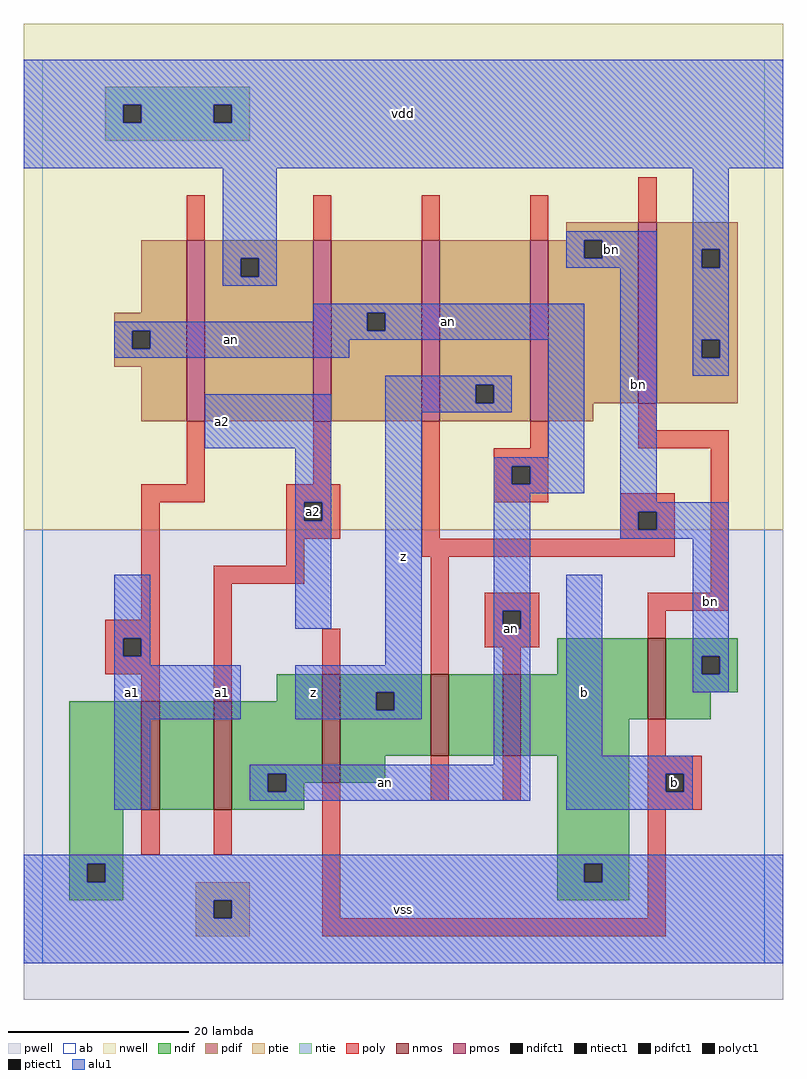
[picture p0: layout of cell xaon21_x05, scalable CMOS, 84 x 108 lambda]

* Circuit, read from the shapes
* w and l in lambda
.subckt xaon21_x05 a1 a2 an b bn vdd vss z
M1 n1 a1 vss vss nfet w=12 l=2
M2 an a2 n1 vss nfet w=12 l=2
M3 z b an vss nfet w=12 l=2
M4 n2 bn z vss nfet w=9 l=2
M5 vss an n2 vss nfet w=9 l=2
M6 bn b vss vss nfet w=9 l=2
M7 vdd a1 an vdd pfet w=20 l=2
M8 an a2 vdd vdd pfet w=20 l=2
M9 z bn an vdd pfet w=20 l=2
M10 bn an z vdd pfet w=20 l=2
M11 vdd b bn vdd pfet w=20 l=2
.ends

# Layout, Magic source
magic
tech scmos
<< ab >>
rect 0 0 80 100
<< nwell >>
rect -2 48 82 104
<< pwell >>
rect -2 -4 82 48
<< poly >>
rect 16 80 18 85
rect 30 80 32 85
rect 42 80 44 85
rect 54 80 56 85
rect 66 82 68 87
rect 16 53 18 60
rect 30 53 32 60
rect 11 51 18 53
rect 27 51 33 53
rect 11 38 13 51
rect 27 49 29 51
rect 31 49 33 51
rect 27 47 33 49
rect 42 47 44 60
rect 54 57 56 60
rect 66 59 68 62
rect 66 57 76 59
rect 50 55 56 57
rect 50 53 52 55
rect 54 53 56 55
rect 50 51 56 53
rect 64 50 70 52
rect 64 48 66 50
rect 68 48 70 50
rect 64 47 70 48
rect 27 44 29 47
rect 42 45 70 47
rect 7 36 13 38
rect 7 34 9 36
rect 11 34 13 36
rect 7 32 13 34
rect 11 29 13 32
rect 19 42 29 44
rect 19 29 21 42
rect 31 32 33 37
rect 43 32 45 45
rect 74 41 76 57
rect 49 39 55 41
rect 49 37 51 39
rect 53 37 55 39
rect 49 35 55 37
rect 67 39 76 41
rect 67 36 69 39
rect 51 32 53 35
rect 11 12 13 17
rect 19 12 21 17
rect 31 5 33 20
rect 43 18 45 23
rect 51 18 53 23
rect 67 23 69 27
rect 67 21 73 23
rect 67 19 69 21
rect 71 19 73 21
rect 67 17 73 19
rect 67 5 69 17
rect 31 3 69 5
<< ndif >>
rect 57 32 67 36
rect 26 29 31 32
rect 3 17 11 29
rect 13 17 19 29
rect 21 21 31 29
rect 21 19 25 21
rect 27 20 31 21
rect 33 30 43 32
rect 33 28 37 30
rect 39 28 43 30
rect 33 23 43 28
rect 45 23 51 32
rect 53 27 67 32
rect 69 34 77 36
rect 69 32 73 34
rect 75 32 77 34
rect 69 30 77 32
rect 69 27 74 30
rect 53 23 65 27
rect 33 20 38 23
rect 27 19 29 20
rect 21 17 29 19
rect 3 11 9 17
rect 3 9 5 11
rect 7 9 9 11
rect 3 7 9 9
rect 57 11 65 23
rect 57 9 60 11
rect 62 9 65 11
rect 57 7 65 9
<< pdif >>
rect 58 80 66 82
rect 11 72 16 80
rect 8 70 16 72
rect 8 68 10 70
rect 12 68 16 70
rect 8 66 16 68
rect 11 60 16 66
rect 18 78 30 80
rect 18 76 22 78
rect 24 76 30 78
rect 18 60 30 76
rect 32 72 42 80
rect 32 70 36 72
rect 38 70 42 72
rect 32 60 42 70
rect 44 64 54 80
rect 44 62 48 64
rect 50 62 54 64
rect 44 60 54 62
rect 56 78 60 80
rect 62 78 66 80
rect 56 62 66 78
rect 68 79 77 82
rect 68 77 73 79
rect 75 77 77 79
rect 68 69 77 77
rect 68 67 73 69
rect 75 67 77 69
rect 68 62 77 67
rect 56 60 61 62
<< alu1 >>
rect -2 95 82 100
rect -2 93 9 95
rect 11 93 19 95
rect 21 93 82 95
rect -2 88 82 93
rect 20 78 26 88
rect 20 76 22 78
rect 24 76 26 78
rect 58 80 68 81
rect 58 78 60 80
rect 62 78 68 80
rect 58 77 68 78
rect 20 75 26 76
rect 30 72 60 73
rect 30 71 36 72
rect 8 70 36 71
rect 38 70 60 72
rect 8 68 10 70
rect 12 69 60 70
rect 12 68 34 69
rect 8 67 34 68
rect 38 64 52 65
rect 18 57 32 63
rect 28 51 32 57
rect 28 49 29 51
rect 31 49 32 51
rect 8 36 12 43
rect 28 37 32 49
rect 38 62 48 64
rect 50 62 52 64
rect 38 61 52 62
rect 8 34 9 36
rect 11 34 12 36
rect 8 33 12 34
rect 38 33 42 61
rect 56 56 60 69
rect 8 27 22 33
rect 28 30 42 33
rect 28 28 37 30
rect 39 28 42 30
rect 28 27 42 28
rect 50 55 60 56
rect 50 53 52 55
rect 54 53 60 55
rect 50 52 60 53
rect 50 39 54 52
rect 64 51 68 77
rect 72 79 76 88
rect 72 77 73 79
rect 75 77 76 79
rect 72 69 76 77
rect 72 67 73 69
rect 75 67 76 69
rect 72 65 76 67
rect 64 50 76 51
rect 64 48 66 50
rect 68 48 76 50
rect 64 47 76 48
rect 50 37 51 39
rect 53 37 54 39
rect 8 17 12 27
rect 50 22 54 37
rect 23 21 54 22
rect 23 19 25 21
rect 27 19 54 21
rect 23 18 54 19
rect 58 23 62 43
rect 72 34 76 47
rect 72 32 73 34
rect 75 32 76 34
rect 72 30 76 32
rect 58 21 72 23
rect 58 19 69 21
rect 71 19 72 21
rect 58 17 72 19
rect -2 11 82 12
rect -2 9 5 11
rect 7 9 60 11
rect 62 9 82 11
rect -2 7 82 9
rect -2 5 19 7
rect 21 5 82 7
rect -2 0 82 5
<< ptie >>
rect 17 7 23 9
rect 17 5 19 7
rect 21 5 23 7
rect 17 3 23 5
<< ntie >>
rect 7 95 23 97
rect 7 93 9 95
rect 11 93 19 95
rect 21 93 23 95
rect 7 91 23 93
<< nmos >>
rect 11 17 13 29
rect 19 17 21 29
rect 31 20 33 32
rect 43 23 45 32
rect 51 23 53 32
rect 67 27 69 36
<< pmos >>
rect 16 60 18 80
rect 30 60 32 80
rect 42 60 44 80
rect 54 60 56 80
rect 66 62 68 82
<< polyct1 >>
rect 29 49 31 51
rect 52 53 54 55
rect 66 48 68 50
rect 9 34 11 36
rect 51 37 53 39
rect 69 19 71 21
<< ndifct1 >>
rect 25 19 27 21
rect 37 28 39 30
rect 73 32 75 34
rect 5 9 7 11
rect 60 9 62 11
<< ntiect1 >>
rect 9 93 11 95
rect 19 93 21 95
<< ptiect1 >>
rect 19 5 21 7
<< pdifct1 >>
rect 10 68 12 70
rect 22 76 24 78
rect 36 70 38 72
rect 48 62 50 64
rect 60 78 62 80
rect 73 77 75 79
rect 73 67 75 69
<< labels >>
rlabel alu1 10 30 10 30 6 a1
rlabel alu1 20 30 20 30 6 a1
rlabel alu1 20 60 20 60 6 a2
rlabel alu1 40 6 40 6 6 vss
rlabel alu1 30 30 30 30 6 z
rlabel polyct1 30 50 30 50 6 a2
rlabel alu1 40 45 40 45 6 z
rlabel alu1 21 69 21 69 6 an
rlabel alu1 40 94 40 94 6 vdd
rlabel alu1 38 20 38 20 6 an
rlabel alu1 60 30 60 30 6 b
rlabel alu1 52 37 52 37 6 an
rlabel alu1 45 71 45 71 6 an
rlabel polyct1 70 20 70 20 6 b
rlabel alu1 74 40 74 40 6 bn
rlabel alu1 63 79 63 79 6 bn
rlabel alu1 66 64 66 64 6 bn
<< end >>
